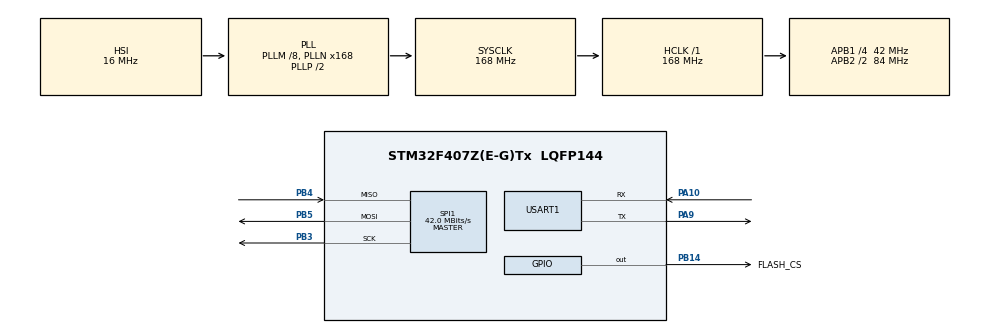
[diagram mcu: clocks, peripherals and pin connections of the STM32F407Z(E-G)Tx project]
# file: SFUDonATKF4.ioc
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Mcu.Family=STM32F4
Mcu.Name=STM32F407Z(E-G)Tx
Mcu.Package=LQFP144
NVIC.PriorityGroup=NVIC_PRIORITYGROUP_4
PA10.Mode=Asynchronous
PA10.Signal=USART1_RX
PA13.Mode=Serial_Wire
PA13.Signal=SYS_JTMS-SWDIO
PA14.Mode=Serial_Wire
PA14.Signal=SYS_JTCK-SWCLK
PA9.Mode=Asynchronous
PA9.Signal=USART1_TX
PB14.GPIO_Label=FLASH_CS
PB14.Signal=GPIO_Output
PB3.Mode=Full_Duplex_Master
PB3.Signal=SPI1_SCK
PB4.Mode=Full_Duplex_Master
PB4.Signal=SPI1_MISO
PB5.Mode=Full_Duplex_Master
PB5.Signal=SPI1_MOSI
PH0-OSC_IN.Mode=HSE-External-Oscillator
PH0-OSC_IN.Signal=RCC_OSC_IN
PH1-OSC_OUT.Mode=HSE-External-Oscillator
PH1-OSC_OUT.Signal=RCC_OSC_OUT
ProjectManager.HeapSize=0x200
ProjectManager.StackSize=0x400
ProjectManager.TargetToolchain=SW4STM32
RCC.48MHZClocksFreq_Value=84000000
RCC.AHBFreq_Value=168000000
RCC.APB1CLKDivider=RCC_HCLK_DIV4
RCC.APB1Freq_Value=42000000
RCC.APB1TimFreq_Value=84000000
RCC.APB2CLKDivider=RCC_HCLK_DIV2
RCC.APB2Freq_Value=84000000
RCC.APB2TimFreq_Value=168000000
RCC.CortexFreq_Value=168000000
RCC.HCLKFreq_Value=168000000
RCC.HSE_VALUE=8000000
RCC.HSI_VALUE=16000000
RCC.LSE_VALUE=32768
RCC.PLLM=8
RCC.PLLN=168
RCC.SYSCLKFreq_VALUE=168000000
RCC.SYSCLKSource=RCC_SYSCLKSOURCE_PLLCLK
RCC.VCOOutputFreq_Value=336000000
SPI1.CLKPhase=SPI_PHASE_1EDGE
SPI1.CLKPolarity=SPI_POLARITY_LOW
SPI1.CalculateBaudRate=42.0 MBits/s
SPI1.Direction=SPI_DIRECTION_2LINES
SPI1.Mode=SPI_MODE_MASTER
SPI1.VirtualType=VM_MASTER
USART1.VirtualMode=VM_ASYNC
board=custom

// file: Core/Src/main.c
/* USER CODE BEGIN Header */
/**
  ******************************************************************************
  * @file           : main.c
  * @brief          : Main program body
  ******************************************************************************
  * @attention
  *
  * <h2><center>&copy; Copyright (c) 2021 STMicroelectronics.
  * All rights reserved.</center></h2>
  *
  * This software component is licensed by ST under BSD 3-Clause license,
  * the "License"; You may not use this file except in compliance with the
  * License. You may obtain a copy of the License at:
  *                        opensource.org/licenses/BSD-3-Clause
  *
  ******************************************************************************
  */
/* USER CODE END Header */
#include "main.h"
#include "spi.h"
#include "usart.h"
#include "gpio.h"

/* USER CODE BEGIN Includes */
#include "sfud.h"
/* USER CODE END Includes */

/* USER CODE BEGIN PD */
#define SFUD_DEMO_TEST_BUFFER_SIZE                     1024
/* USER CODE END PD */

/* USER CODE BEGIN PV */
static uint8_t sfud_demo_test_buf[SFUD_DEMO_TEST_BUFFER_SIZE];
/* USER CODE END PV */

void SystemClock_Config(void);
/* USER CODE BEGIN PFP */
static void sfud_demo(uint32_t addr, size_t size, uint8_t *data);
int __io_putchar(int ch) {
    uint8_t temp[1] = {ch};
    HAL_UART_Transmit(&huart1, temp, 1, 0xff);
    return (ch);
}
/* USER CODE END PFP */

int main(void)
{

  /* MCU Configuration--------------------------------------------------------*/

  /* Reset of all peripherals, Initializes the Flash interface and the Systick. */
  HAL_Init();

  /* Configure the system clock */
  SystemClock_Config();

  /* Initialize all configured peripherals */
  MX_GPIO_Init();
  MX_SPI1_Init();
  MX_USART1_UART_Init();
  /* USER CODE BEGIN 2 */
    if (sfud_init() == SFUD_SUCCESS) {
        sfud_demo(0, sizeof(sfud_demo_test_buf), sfud_demo_test_buf);
    }
  /* USER CODE END 2 */

  /* Infinite loop */
  while (1)
  {

  }
}

void SystemClock_Config(void)
{
  RCC_OscInitTypeDef RCC_OscInitStruct = {0};
  RCC_ClkInitTypeDef RCC_ClkInitStruct = {0};

  /** Configure the main internal regulator output voltage
  */
  __HAL_RCC_PWR_CLK_ENABLE();
  __HAL_PWR_VOLTAGESCALING_CONFIG(PWR_REGULATOR_VOLTAGE_SCALE1);
  /** Initializes the RCC Oscillators according to the specified parameters
  * in the RCC_OscInitTypeDef structure.
  */
  RCC_OscInitStruct.OscillatorType = RCC_OSCILLATORTYPE_HSI;
  RCC_OscInitStruct.HSIState = RCC_HSI_ON;
  RCC_OscInitStruct.HSICalibrationValue = RCC_HSICALIBRATION_DEFAULT;
  RCC_OscInitStruct.PLL.PLLState = RCC_PLL_ON;
  RCC_OscInitStruct.PLL.PLLSource = RCC_PLLSOURCE_HSI;
  RCC_OscInitStruct.PLL.PLLM = 8;
  RCC_OscInitStruct.PLL.PLLN = 168;
  RCC_OscInitStruct.PLL.PLLP = RCC_PLLP_DIV2;
  RCC_OscInitStruct.PLL.PLLQ = 4;
  if (HAL_RCC_OscConfig(&RCC_OscInitStruct) != HAL_OK)
  {
    Error_Handler();
  }
  /** Initializes the CPU, AHB and APB buses clocks
  */
  RCC_ClkInitStruct.ClockType = RCC_CLOCKTYPE_HCLK|RCC_CLOCKTYPE_SYSCLK
                              |RCC_CLOCKTYPE_PCLK1|RCC_CLOCKTYPE_PCLK2;
  RCC_ClkInitStruct.SYSCLKSource = RCC_SYSCLKSOURCE_PLLCLK;
  RCC_ClkInitStruct.AHBCLKDivider = RCC_SYSCLK_DIV1;
  RCC_ClkInitStruct.APB1CLKDivider = RCC_HCLK_DIV4;
  RCC_ClkInitStruct.APB2CLKDivider = RCC_HCLK_DIV2;

  if (HAL_RCC_ClockConfig(&RCC_ClkInitStruct, FLASH_LATENCY_5) != HAL_OK)
  {
    Error_Handler();
  }
}

/* USER CODE BEGIN 4 */
static void sfud_demo(uint32_t addr, size_t size, uint8_t *data) {
    sfud_err result = SFUD_SUCCESS;
    const sfud_flash *flash = sfud_get_device_table() + 0;
    size_t i;
    /* prepare write data */
    for (i = 0; i < size; i++) {
        data[i] = i;
    }
    /* erase test */
    result = sfud_erase(flash, addr, size);
    if (result == SFUD_SUCCESS) {
        printf("Erase the %s flash data finish. Start from 0x%08X, size is %ld.\r\n", flash->name, addr,
               size);
    } else {
        printf("Erase the %s flash data failed.\r\n", flash->name);
        return;
    }
    /* write test */
    result = sfud_write(flash, addr, size, data);
    if (result == SFUD_SUCCESS) {
        printf("Write the %s flash data finish. Start from 0x%08X, size is %ld.\r\n", flash->name, addr,
               size);
    } else {
        printf("Write the %s flash data failed.\r\n", flash->name);
        return;
    }
    /* read test */
    result = sfud_read(flash, addr, size, data);
    if (result == SFUD_SUCCESS) {
        printf("Read the %s flash data success. Start from 0x%08X, size is %ld. The data is:\r\n", flash->name, addr,
               size);
        printf("Offset (h) 00 01 02 03 04 05 06 07 08 09 0A 0B 0C 0D 0E 0F\r\n");
        for (i = 0; i < size; i++) {
            if (i % 16 == 0) {
                printf("[%08X] ", addr + i);
            }
            printf("%02X ", data[i]);
            if (((i + 1) % 16 == 0) || i == size - 1) {
                printf("\r\n");
            }
        }
        printf("\r\n");
    } else {
        printf("Read the %s flash data failed.\r\n", flash->name);
    }
    /* data check */
    for (i = 0; i < size; i++) {
        if (data[i] != i % 256) {
            printf("Read and check write data has an error. Write the %s flash data failed.\r\n", flash->name);
            break;
        }
    }
    if (i == size) {
        printf("The %s flash test is success.\r\n", flash->name);
    }
}
/* USER CODE END 4 */

void Error_Handler(void)
{
  __disable_irq();
  while (1)
  {
  }
}

/************************ (C) COPYRIGHT STMicroelectronics *****END OF FILE****/
